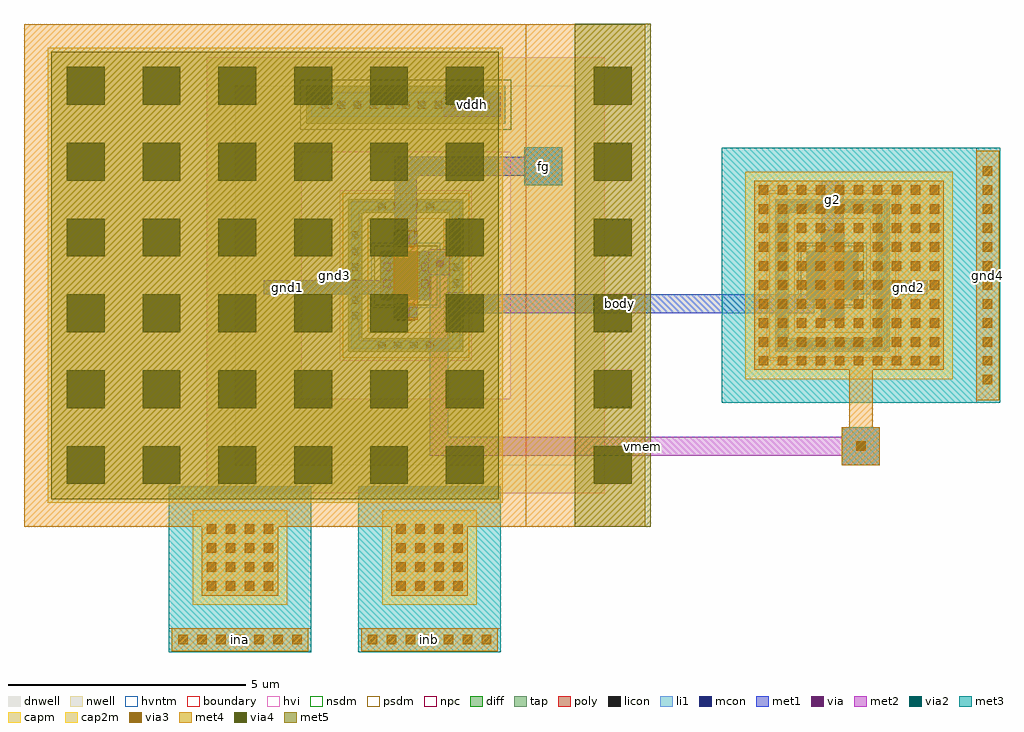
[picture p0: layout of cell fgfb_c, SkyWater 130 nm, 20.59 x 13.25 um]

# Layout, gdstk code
from math import pi, radians
import gdstk
lib = gdstk.Library(unit=1e-6, precision=1e-09)
def R(c, l, rs):  # rectangles x0, y0, x1, y1
    for r in rs: c.add(gdstk.rectangle(r[:2], r[2:], *l))
def A(c, l, x, y, w, h, nx, ny, dx, dy):  # array of equal rectangles
    R(c, l, [(x+i*dx, y+j*dy, x+i*dx+w, y+j*dy+h) for i in range(nx) for j in range(ny)])
dnwell = (64, 18)
nwell = (64, 20)
diff = (65, 20)
tap = (65, 44)
poly = (66, 20)
licon = (66, 44)
li1 = (67, 20)
mcon = (67, 44)
met1 = (68, 20)
via = (68, 44)
met2 = (69, 20)
via2 = (69, 44)
met3 = (70, 20)
via3 = (70, 44)
met4 = (71, 20)
via4 = (71, 44)
met5 = (72, 20)
hvi = (75, 20)
capm = (89, 44)
nsdm = (93, 44)
psdm = (94, 20)
npc = (95, 20)
cap2m = (97, 44)
hvntm = (125, 20)
boundary = (235, 4)

nfgfb = lib.new_cell('nfgfb')
R(nfgfb, diff, [(-0.54,-0.5,0.54,0.5)])
R(nfgfb, tap, [(-1.21,-1.61,1.21,-1.32), (-1.21,-1.32,-0.92,1.32), (0.92,-1.32,1.21,1.32), (-1.21,1.32,1.21,1.61)])
R(nfgfb, poly, [(-0.25,-0.94,0.25,0.94)])
A(nfgfb, licon, -0.595, -1.55, 0.17, 0.17, 4, 2, 0.34, 2.93)
A(nfgfb, licon, -1.15, -0.935, 0.17, 0.17, 1, 6, 0, 0.34)
A(nfgfb, licon, 0.98, -0.935, 0.17, 0.17, 1, 6, 0, 0.34)
A(nfgfb, licon, -0.48, -0.425, 0.17, 0.17, 1, 3, 0, 0.34)
A(nfgfb, licon, 0.31, -0.425, 0.17, 0.17, 1, 3, 0, 0.34)
R(nfgfb, licon, [(-0.085,-0.86,0.085,-0.69), (-0.085,0.69,0.085,0.86)])
R(nfgfb, li1, [(-1.15,-1.55,1.15,-1.38), (-1.15,-1.38,-0.98,1.38), (0.98,-1.38,1.15,1.38), (-0.25,-0.86,0.25,-0.69), (-0.48,-0.52,-0.31,0.52), (0.31,-0.52,0.48,0.52), (-0.25,0.69,0.25,0.86), (-1.15,1.38,1.15,1.55)])
R(nfgfb, mcon, [(-0.085,-0.86,0.085,-0.69), (-0.48,-0.265,-0.31,-0.095), (0.31,-0.265,0.48,-0.095), (-0.48,0.095,-0.31,0.265), (0.31,0.095,0.48,0.265), (-0.085,0.69,0.085,0.86)])
R(nfgfb, met1, [(-0.23,-0.89,0.23,-0.66), (-0.51,-0.5,-0.28,0.5), (0.28,-0.5,0.51,0.5), (-0.23,0.66,0.23,0.89)])
R(nfgfb, hvi, [(-1.395,-1.795,1.395,1.795)])
R(nfgfb, nsdm, [(-0.665,-0.625,0.665,0.625)])
R(nfgfb, psdm, [(-1.335,-1.735,1.335,-1.195), (-1.335,-1.195,-0.795,1.195), (0.795,-1.195,1.335,1.195), (-1.335,1.195,1.335,1.735)])
R(nfgfb, npc, [(-0.185,-0.96,0.185,-0.59), (-0.185,0.59,0.185,0.96)])
R(nfgfb, hvntm, [(-0.725,-0.685,0.725,0.685)])
R(nfgfb, boundary, [(-1.065,-1.465,1.065,1.465)])

nbulk = lib.new_cell('nbulk')
R(nbulk, diff, [(-0.54,-0.5,0.54,0.5)])
R(nbulk, tap, [(-1.21,-1.61,1.21,-1.32), (-1.21,-1.32,-0.92,1.32), (0.92,-1.32,1.21,1.32), (-1.21,1.32,1.21,1.61)])
R(nbulk, poly, [(-0.25,-0.94,0.25,0.94)])
A(nbulk, licon, -0.595, -1.55, 0.17, 0.17, 4, 2, 0.34, 2.93)
A(nbulk, licon, -1.15, -0.935, 0.17, 0.17, 1, 6, 0, 0.34)
A(nbulk, licon, 0.98, -0.935, 0.17, 0.17, 1, 6, 0, 0.34)
A(nbulk, licon, -0.48, -0.425, 0.17, 0.17, 1, 3, 0, 0.34)
A(nbulk, licon, 0.31, -0.425, 0.17, 0.17, 1, 3, 0, 0.34)
R(nbulk, licon, [(-0.085,-0.86,0.085,-0.69), (-0.085,0.69,0.085,0.86)])
R(nbulk, li1, [(-1.15,-1.55,1.15,-1.38), (-1.15,-1.38,-0.98,1.38), (0.98,-1.38,1.15,1.38), (-0.25,-0.86,0.25,-0.69), (-0.48,-0.52,-0.31,0.52), (0.31,-0.52,0.48,0.52), (-0.25,0.69,0.25,0.86), (-1.15,1.38,1.15,1.55)])
R(nbulk, mcon, [(-0.085,-0.86,0.085,-0.69), (-0.48,-0.265,-0.31,-0.095), (0.31,-0.265,0.48,-0.095), (-0.48,0.095,-0.31,0.265), (0.31,0.095,0.48,0.265), (-0.085,0.69,0.085,0.86)])
R(nbulk, met1, [(-0.23,-0.89,0.23,-0.66), (-0.51,-0.5,-0.28,0.5), (0.28,-0.5,0.51,0.5), (-0.23,0.66,0.23,0.89)])
R(nbulk, hvi, [(-1.395,-1.795,1.395,1.795)])
R(nbulk, nsdm, [(-0.665,-0.625,0.665,0.625)])
R(nbulk, psdm, [(-1.335,-1.735,1.335,-1.195), (-1.335,-1.195,-0.795,1.195), (0.795,-1.195,1.335,1.195), (-1.335,1.195,1.335,1.735)])
R(nbulk, npc, [(-0.185,-0.96,0.185,-0.59), (-0.185,0.59,0.185,0.96)])
R(nbulk, hvntm, [(-0.725,-0.685,0.725,0.685)])
R(nbulk, boundary, [(-1.065,-1.465,1.065,1.465)])

cmem = lib.new_cell('cmem')
R(cmem, met3, [(-2.94,-2.69,2.935,2.69)])
A(cmem, via3, 2.575, -2.3, 0.2, 0.2, 1, 12, 0, 0.4)
A(cmem, via3, -2.15, -1.9, 0.2, 0.2, 10, 10, 0.4, 0.4)
R(cmem, met4, [(2.435,-2.63,2.915,2.63), (-2.245,-1.995,1.745,1.995)])
R(cmem, capm, [(-2.44,-2.19,1.94,2.19)])
R(cmem, boundary, [(-2.94,-2.69,2.44,2.69)])

cin = lib.new_cell('cin')
R(cin, met3, [(-1.75,-1.5,1.745,1.5)])
A(cin, via3, 1.385, -1.3, 0.2, 0.2, 1, 7, 0, 0.4)
A(cin, via3, -0.95, -0.7, 0.2, 0.2, 4, 4, 0.4, 0.4)
R(cin, met4, [(1.245,-1.44,1.725,1.44), (-1.055,-0.805,0.555,0.805)])
R(cin, capm, [(-1.25,-1,0.75,1)])
R(cin, boundary, [(-1.75,-1.5,1.25,1.5)])

cfix2 = lib.new_cell('cfix2')
R(cfix2, met4, [(-6.555,-5.3,6.555,5.3)])
A(cfix2, via4, -5.655, -4.4, 0.8, 0.8, 6, 6, 1.6, 1.6)
A(cfix2, via4, 5.465, -4.4, 0.8, 0.8, 1, 6, 0, 1.6)
R(cfix2, met5, [(5.065,-5.305,6.665,5.305), (-5.975,-4.72,3.465,4.72)])
R(cfix2, cap2m, [(-6.055,-4.8,3.545,4.8)])
R(cfix2, boundary, [(-6.555,-5.3,4.045,5.3)])

fgfb_c = lib.new_cell('fgfb_c')
R(fgfb_c, dnwell, [(-3.6,-4,3.6,4)])
R(fgfb_c, nwell, [(-4.2,-4.6,4.2,-2.6), (-4.2,-2.6,-2.2,2.6), (2.2,-2.6,4.2,2.6), (-4.2,2.6,4.2,4.6)])
R(fgfb_c, tap, [(-2.1,3.2,2.1,4)])
A(fgfb_c, licon, -1.785, 3.515, 0.17, 0.17, 11, 1, 0.34, 0)
R(fgfb_c, li1, [(0.98,-0.75,1.15,-0.45), (-2,3.35,2,3.85)])
R(fgfb_c, mcon, [(0.98,-0.685,1.15,-0.515), (1.035,3.515,1.205,3.685), (1.395,3.515,1.565,3.685)])
R(fgfb_c, met1, [(0.9,-0.85,1.23,-0.8), (0.9,-0.8,8.62,-0.4), (-3,-0.4,-0.28,-0.1), (0.9,-0.4,1.23,-0.35), (9.51,-0.4,11,-0.1), (0.28,0,0.92,0.5), (-0.23,0.66,0.23,2.1), (8.77,0.66,9.23,2), (2.5,1.9,3.3,2.1), (-0.23,2.1,3.3,2.5), (2.5,2.5,3.3,2.7), (0.8,3.35,2,3.85)])
R(fgfb_c, via, [(0.635,0.175,0.785,0.325), (2.825,2.225,2.975,2.375)])
R(fgfb_c, met2, [(9.2,-4,10,-3.8), (0.5,-3.8,10,-3.4), (0.5,-3.4,0.9,-0.02), (9.2,-3.4,10,-3.2), (0.48,-0.02,0.94,0.55), (2.5,1.9,3.3,2.7)])
R(fgfb_c, via2, [(9.5,-3.7,9.7,-3.5), (2.8,2.2,3,2.4)])
R(fgfb_c, met3, [(9.2,-4,10,-3.2), (2.5,1.9,3.3,2.7)])
R(fgfb_c, via3, [(9.5,-3.7,9.7,-3.5), (2.8,2.2,3,2.4)])
R(fgfb_c, met4, [(-3.7,-7.885,-3.3,-7.485), (0.3,-7.885,0.7,-7.485), (9.2,-4,10,-3.2), (9.35,-3.2,9.85,-1), (12.1,-0.3,12.45,0.3), (2.5,1.9,3.3,2.7)])
R(fgfb_c, met5, [(-1.8,-0.3,-1.2,0.3)])
R(fgfb_c, hvi, [(-4.2,-4.6,4.2,-2.6), (-4.2,-2.6,-2.2,2.6), (2.2,-2.6,4.2,2.6), (-4.2,2.6,4.2,4.6)])
R(fgfb_c, nsdm, [(-2.225,3.075,2.225,4.125)])
fgfb_c.add(gdstk.Reference(nfgfb, (0,0)))
fgfb_c.add(gdstk.Reference(nbulk, (9,0)))
fgfb_c.add(gdstk.Reference(cmem, (9.6,0)))
fgfb_c.add(gdstk.Reference(cin, (0.5,-6.2), rotation=3*pi/2))
fgfb_c.add(gdstk.Reference(cin, (-3.5,-6.2), rotation=3*pi/2))
fgfb_c.add(gdstk.Reference(cfix2, (-1.5,0)))
fgfb_c.add(gdstk.Label('vddh', (1.4,3.6), layer=68, texttype=5))
fgfb_c.add(gdstk.Label('fg', (2.9,2.3), layer=71, texttype=5))
fgfb_c.add(gdstk.Label('body', (4.5,-0.6), layer=68, texttype=5))
fgfb_c.add(gdstk.Label('vmem', (5,-3.6), layer=69, texttype=5))
fgfb_c.add(gdstk.Label('gnd1', (-2.5,-0.25), layer=68, texttype=5))
fgfb_c.add(gdstk.Label('gnd2', (10.6,-0.25), layer=68, texttype=5))
fgfb_c.add(gdstk.Label('g2', (9,1.6), layer=68, texttype=5))
fgfb_c.add(gdstk.Label('gnd3', (-1.5,0), layer=72, texttype=5))
fgfb_c.add(gdstk.Label('gnd4', (12.275,0), layer=71, texttype=5))
fgfb_c.add(gdstk.Label('ina', (-3.5,-7.685), layer=71, texttype=5))
fgfb_c.add(gdstk.Label('inb', (0.5,-7.685), layer=71, texttype=5))

lib.write_gds('fgfb_c.gds')
